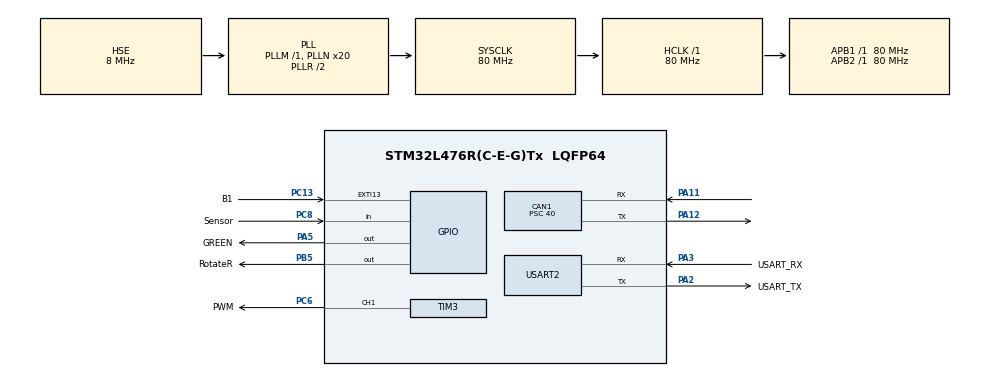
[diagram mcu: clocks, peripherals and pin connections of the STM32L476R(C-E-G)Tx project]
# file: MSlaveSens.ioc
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CAN1.BS1=CAN_BS1_13TQ
CAN1.BS2=CAN_BS2_2TQ
CAN1.CalculateBaudRate=125000
CAN1.CalculateTimeBit=8000
CAN1.CalculateTimeQuantum=500.0
CAN1.Prescaler=40
Mcu.Family=STM32L4
Mcu.Name=STM32L476R(C-E-G)Tx
Mcu.Package=LQFP64
NVIC.CAN1_RX0_IRQn=true\:0\:0\:false\:false\:true\:true\:true\:true
NVIC.CAN1_RX1_IRQn=true\:0\:0\:false\:false\:true\:true\:true\:true
NVIC.CAN1_SCE_IRQn=true\:0\:0\:false\:false\:true\:true\:true\:true
NVIC.CAN1_TX_IRQn=true\:0\:0\:false\:false\:true\:true\:true\:true
NVIC.EXTI15_10_IRQn=true\:0\:0\:false\:false\:true\:true\:true\:true
NVIC.PriorityGroup=NVIC_PRIORITYGROUP_4
PA11.Mode=CAN_Activate
PA11.Signal=CAN1_RX
PA12.Mode=CAN_Activate
PA12.Signal=CAN1_TX
PA13\ (JTMS-SWDIO).GPIO_Label=TMS
PA13\ (JTMS-SWDIO).Mode=Serial_Wire
PA13\ (JTMS-SWDIO).Signal=SYS_JTMS-SWDIO
PA14\ (JTCK-SWCLK).GPIO_Label=TCK
PA14\ (JTCK-SWCLK).Mode=Serial_Wire
PA14\ (JTCK-SWCLK).Signal=SYS_JTCK-SWCLK
PA2.GPIO_Label=USART_TX
PA2.GPIO_Mode=GPIO_MODE_AF_PP
PA2.GPIO_PuPd=GPIO_NOPULL
PA2.GPIO_Speed=GPIO_SPEED_FREQ_VERY_HIGH
PA2.Mode=Asynchronous
PA2.Signal=USART2_TX
PA3.GPIO_Label=USART_RX
PA3.GPIO_Mode=GPIO_MODE_AF_PP
PA3.GPIO_PuPd=GPIO_NOPULL
PA3.GPIO_Speed=GPIO_SPEED_FREQ_VERY_HIGH
PA3.Mode=Asynchronous
PA3.Signal=USART2_RX
PA5.GPIO_Label=GREEN
PA5.GPIO_ModeDefaultOutputPP=GPIO_MODE_OUTPUT_PP
PA5.GPIO_PuPd=GPIO_NOPULL
PA5.GPIO_Speed=GPIO_SPEED_FREQ_LOW
PA5.Signal=GPIO_Output
PB3\ (JTDO-TRACESWO).GPIO_Label=SWO
PB3\ (JTDO-TRACESWO).Signal=SYS_JTDO-SWO
PB5.GPIO_Label=RotateR
PB5.Signal=GPIO_Output
PC13.GPIO_Label=B1
PC13.GPIO_ModeDefaultEXTI=GPIO_MODE_IT_FALLING
PC13.GPIO_PuPd=GPIO_NOPULL
PC13.Signal=GPXTI13
PC14-OSC32_IN\ (PC14).Signal=RCC_OSC32_IN
PC15-OSC32_OUT\ (PC15).Signal=RCC_OSC32_OUT
PC6.GPIO_Label=PWM
PC6.Signal=S_TIM3_CH1
PC8.GPIO_Label=Sensor
PC8.Signal=GPIO_Input
PH0-OSC_IN\ (PH0).Mode=HSE-External-Clock-Source
PH0-OSC_IN\ (PH0).Signal=RCC_OSC_IN
PH1-OSC_OUT\ (PH1).Signal=RCC_OSC_OUT
ProjectManager.HeapSize=0x200
ProjectManager.StackSize=0x400
ProjectManager.TargetToolchain=STM32CubeIDE
RCC.ADCFreq_Value=32000000
RCC.AHBFreq_Value=80000000
RCC.APB1Freq_Value=80000000
RCC.APB1TimFreq_Value=80000000
RCC.APB2Freq_Value=80000000
RCC.APB2TimFreq_Value=80000000
RCC.CortexFreq_Value=80000000
RCC.HCLKFreq_Value=80000000
RCC.HSE_VALUE=8000000
RCC.HSI_VALUE=16000000
RCC.LSE_VALUE=32768
RCC.MSI_VALUE=4000000
RCC.PLLN=20
RCC.PLLSourceVirtual=RCC_PLLSOURCE_HSE
RCC.PREFETCH_ENABLE=1
RCC.SYSCLKFreq_VALUE=80000000
RCC.SYSCLKSource=RCC_SYSCLKSOURCE_PLLCLK
RCC.USBFreq_Value=32000000
RCC.VCOOutputFreq_Value=160000000
SH.S_TIM3_CH1.0=TIM3_CH1,PWM Generation1 CH1
TIM3.Channel-PWM\ Generation1\ CH1=TIM_CHANNEL_1
TIM3.Period=1000
TIM3.Prescaler=7
TIM3.Pulse-PWM\ Generation1\ CH1=0
USART2.VirtualMode-Asynchronous=VM_ASYNC
VP_TIM3_VS_ClockSourceINT.Mode=Internal
board=NUCLEO-L476RG

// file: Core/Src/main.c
/* USER CODE BEGIN Header */
/**
 ******************************************************************************
 * @file           : main.c
 * @brief          : Main program body
 ******************************************************************************
 * @attention
 *
 * Copyright (c) 2023 STMicroelectronics.
 * All rights reserved.
 *
 * This software is licensed under terms that can be found in the LICENSE file
 * in the root directory of this software component.
 * If no LICENSE file comes with this software, it is provided AS-IS.
 *
 ******************************************************************************
 */
/* USER CODE END Header */
#include "main.h"

/* USER CODE BEGIN Includes */

#include <stdbool.h>

/* USER CODE END Includes */

CAN_HandleTypeDef hcan1;

TIM_HandleTypeDef htim3;

UART_HandleTypeDef huart2;

void SystemClock_Config(void);
static void MX_GPIO_Init(void);
static void MX_USART2_UART_Init(void);
static void MX_CAN1_Init(void);
static void MX_TIM3_Init(void);

/* USER CODE BEGIN 0 */
uint32_t rollspeed = 750;
int errortoolong = 0;
CAN_TxHeaderTypeDef TxHeader;	//zmienna do konfiguracji nagłówka typu CAN_TxHeaderTypeDef
CAN_RxHeaderTypeDef RxHeader;	//zmienna do konfiguracji nagłówka typu CAN_TxHeaderTypeDef

uint8_t TxData[8];				// tablica danych wysyłanych
uint8_t RxData[8];				// tablica danych odbieranych

uint8_t previousTxData[8];		// tablica zapisująca poprzednie stany danych wysyłanych
uint8_t previousRxData[8];		// tablica zapisująca poprzednie stany danych odbieranych

uint32_t TxMailbox;				// monitorowanie statusu wysyłanych ramek

int datacheck = 0;
// Przerwanie - odbiór paczki danych z CAN
void HAL_CAN_RxFifo1MsgPendingCallback(CAN_HandleTypeDef *hcan) {
	HAL_CAN_GetRxMessage(hcan, CAN_RX_FIFO1, &RxHeader, RxData);
	if (RxHeader.DLC == 3) {
		datacheck = 1;
	}
}
//Obsluga czujnika
bool oneAction = 0;
bool oneActionMotor = 0;
bool isStarted0 = false;
bool isStarted1 = false;
uint8_t SensorState = 0;
uint8_t PrevSensorState = 0;
uint32_t FilterStartTime = 0;		 //start odliczania czasu                   -niwelowania zakłocenia
uint32_t FilterTriggerTime = 200; 	//czas zmiany stanu czujnika      		    - niwelowanie zakłóceń
uint32_t errorStartTime = 0;		 //start odliczania czasu błędu  	 	    - zator kartonów/uszkodzenie czujnika
uint32_t errorTriggerTime = 8000;	 //czas wystąpienia błędu          		    - zator kartonów/uszkodzenie czujnika
uint32_t StandbyStartTime = 0;		//start odliczania trybu standby
uint32_t StandbyTriggerTime = 4000; //czas po którym przenośnik wpada w stan Standby
uint32_t sequenceStartTime = 0; 	//start odliczania sekwencji kartonów        - zator kartonów pomiędzy czujnikami
uint32_t sequenceTriggerTime = 8000; //czas, po którym przenośnik sygnalizuje błąd
uint8_t sequencepack = 0;
void SendMessage(void) {
	for (int i = 0; i < 8; i++) {
		if (TxData[i] != previousTxData[i]) {
			HAL_CAN_AddTxMessage(&hcan1, &TxHeader, TxData, &TxMailbox); // Funkcja wysyłająca wiadomość
			previousTxData[i] = TxData[i];
		}
	}
}

void checkSensor(void) {
	if (HAL_GPIO_ReadPin(Sensor_GPIO_Port, Sensor_Pin) == GPIO_PIN_RESET) {
		SensorState = 1;
	} else {						// Odczyt stanu czujnika oraz ustawienie zmiennej
		SensorState = 0;
	}
	if (SensorState == 1 && PrevSensorState == 0 && isStarted1 == false) {
		FilterStartTime = HAL_GetTick();	// Pobranie aktualnego czasu zmiany stanu czujnika z 0 na 1 do zmiennej
		errorStartTime = HAL_GetTick();
		isStarted1 = true;
	} else {
		if (SensorState == 0) {
			isStarted1 = false;
		}
	}
	if (SensorState == 0 && PrevSensorState == 1 && isStarted0 == false) {
		FilterStartTime = HAL_GetTick();	// Pobranie aktualnego czasu zmiany stanu czujnika z 1 na 0 do zmiennej
		isStarted0 = true;
	} else {
		if (SensorState == 1) {
			isStarted0 = false;
		}
	}
}
void updateSensor() {
	if (HAL_GetTick() - FilterStartTime >= FilterTriggerTime) {	//sprawdzanie czy minął zadany czas filtracji
		if (SensorState == 1 && oneAction == 0) {
			TxData[2] = 1;										// zmiana danych do tablicy wysyłanej do magistrali
			StandbyStartTime = HAL_GetTick();					// rozpoczęcie odliczania funkcji Standby
			PrevSensorState = 1;								// ustawienie stanu poprzedniego
			oneAction = 1;										// flaga blokująca ponowne wywołanie
			oneActionMotor = 0;									// flaga blokująca ponowne wywołanie
		} else if (SensorState == 0 && oneAction == 1) {
			TxData[2] = 0;										// zmiana stanu sens do tablicy wysyłanej do magistrali
			PrevSensorState = 0;								// ustawienie stanu poprzedniego
			oneAction = 0;										// flaga blokująca ponowne wywołanie
			sequencepack++;										// dodanie kolejnej paczki do oczekiwania na kolejnej sekcji
			TxData[1] = sequencepack;							// zmiana danych do tablicy wysyłanej do magistrali
		}
	}
}
void Motorcontrol() {
	if (TxData[2] == 1) {
		if (errortoolong == 0) {
			__HAL_TIM_SET_COMPARE(&htim3, TIM_CHANNEL_1, rollspeed);//Funkcja włączająca napęd z prędkością "rollspeed"
			TxData[0] = 1;											//zmiana stanu silnika do tablicy wysyłanej do magistrali
		}
	}
	if (RxData[0] == 1) {											//Funkcja sprawdzająca czujnik na poprzenim module
		__HAL_TIM_SET_COMPARE(&htim3, TIM_CHANNEL_1, rollspeed);	//Funkcja włączająca napęd z prędkością "rollspeed"
			TxData[0] = 1;											//zmiana stanu silnika do tablicy wysyłanej do magistrali
			StandbyStartTime = HAL_GetTick();						//Odliczanie czasu Standby
		oneActionMotor = 0;											//flaga blokująca wykonanie jednej operacji
	}
	if ((HAL_GetTick() - StandbyStartTime >= StandbyTriggerTime)	//sprawdzanie czasu do zadziałania trybu bezczynności
			&& errortoolong == 0 && oneActionMotor == 0) {
		if (SensorState == 0) {
			__HAL_TIM_SET_COMPARE(&htim3, TIM_CHANNEL_1, 0);		// wyłączenie napędu
			TxData[0] = 0;
			oneActionMotor = 1;
		}
	}
	if (HAL_GetTick() - errorStartTime >= errorTriggerTime) {
		if (SensorState == 1) {
			__HAL_TIM_SET_COMPARE(&htim3, TIM_CHANNEL_1, 0);			//wyłaczenie napędu
			errortoolong = 1;											//flaga błędu przenośnika "zator"
			TxData[0] = 2;												//zmiana stanu silnika do tablicy wysyłanej do magistrali
			HAL_GPIO_WritePin(GREEN_GPIO_Port, GREEN_Pin, GPIO_PIN_SET);//włączenie diody podczas błędu
		}
	}
	if (HAL_GPIO_ReadPin(B1_GPIO_Port, B1_Pin) == GPIO_PIN_RESET) {		//reset błędu
		errortoolong = 0;
		__HAL_TIM_SET_COMPARE(&htim3, TIM_CHANNEL_1, rollspeed);		//włączenie modułu po potwierdzeniu usterki
		TxData[0] = 1;													//zmiana stanu silnika do tablicy wysyłanej do magistrali
		HAL_GPIO_WritePin(GREEN_GPIO_Port, GREEN_Pin, GPIO_PIN_RESET);	//wyłączenie diody podczas błędu
	}
}
/* USER CODE END 0 */

int main(void) {

	/* MCU Configuration--------------------------------------------------------*/

	/* Reset of all peripherals, Initializes the Flash interface and the Systick. */
	HAL_Init();

	/* Configure the system clock */
	SystemClock_Config();

	/* Initialize all configured peripherals */
	MX_GPIO_Init();
	MX_USART2_UART_Init();
	MX_CAN1_Init();
	MX_TIM3_Init();
	/* USER CODE BEGIN 2 */

	HAL_CAN_Start(&hcan1);

	HAL_CAN_ActivateNotification(&hcan1, CAN_IT_RX_FIFO1_MSG_PENDING);

	TxHeader.DLC = 3;  //data length
	TxHeader.IDE = CAN_ID_STD;
	TxHeader.RTR = CAN_RTR_DATA;
	TxHeader.StdId = 0x103; // ID

	TxData[0] = 0;
	TxData[1] = 0;

	//HAL_TIM_Base_Start_IT(&htim3);
	HAL_TIM_PWM_Start(&htim3, TIM_CHANNEL_1);
	HAL_GPIO_WritePin(RotateR_GPIO_Port, RotateR_Pin, GPIO_PIN_SET);
	/* USER CODE END 2 */

	/* Infinite loop */
	/* USER CODE BEGIN WHILE */
	while (1) {
		SendMessage();
		checkSensor();
		updateSensor();
		Motorcontrol();
		/* USER CODE END WHILE */

		/* USER CODE BEGIN 3 */

		if (datacheck) {
			for (int i = 0; i < RxData[1]; i++) {
				//HAL_GPIO_TogglePin(GREEN_GPIO_Port, GREEN_Pin);
				//HAL_Delay(RxData[0]);
			}
			datacheck = 0;
			//HAL_CAN_AddTxMessage(&hcan1, &TxHeader, TxData, &TxMailbox);
		}
	}

	/* USER CODE END 3 */
}

void SystemClock_Config(void) {
	RCC_OscInitTypeDef RCC_OscInitStruct = { 0 };
	RCC_ClkInitTypeDef RCC_ClkInitStruct = { 0 };

	/** Configure the main internal regulator output voltage
	 */
	if (HAL_PWREx_ControlVoltageScaling(PWR_REGULATOR_VOLTAGE_SCALE1)
			!= HAL_OK) {
		Error_Handler();
	}

	/** Initializes the RCC Oscillators according to the specified parameters
	 * in the RCC_OscInitTypeDef structure.
	 */
	RCC_OscInitStruct.OscillatorType = RCC_OSCILLATORTYPE_HSE;
	RCC_OscInitStruct.HSEState = RCC_HSE_BYPASS;
	RCC_OscInitStruct.PLL.PLLState = RCC_PLL_ON;
	RCC_OscInitStruct.PLL.PLLSource = RCC_PLLSOURCE_HSE;
	RCC_OscInitStruct.PLL.PLLM = 1;
	RCC_OscInitStruct.PLL.PLLN = 20;
	RCC_OscInitStruct.PLL.PLLP = RCC_PLLP_DIV7;
	RCC_OscInitStruct.PLL.PLLQ = RCC_PLLQ_DIV2;
	RCC_OscInitStruct.PLL.PLLR = RCC_PLLR_DIV2;
	if (HAL_RCC_OscConfig(&RCC_OscInitStruct) != HAL_OK) {
		Error_Handler();
	}

	/** Initializes the CPU, AHB and APB buses clocks
	 */
	RCC_ClkInitStruct.ClockType = RCC_CLOCKTYPE_HCLK | RCC_CLOCKTYPE_SYSCLK
			| RCC_CLOCKTYPE_PCLK1 | RCC_CLOCKTYPE_PCLK2;
	RCC_ClkInitStruct.SYSCLKSource = RCC_SYSCLKSOURCE_PLLCLK;
	RCC_ClkInitStruct.AHBCLKDivider = RCC_SYSCLK_DIV1;
	RCC_ClkInitStruct.APB1CLKDivider = RCC_HCLK_DIV1;
	RCC_ClkInitStruct.APB2CLKDivider = RCC_HCLK_DIV1;

	if (HAL_RCC_ClockConfig(&RCC_ClkInitStruct, FLASH_LATENCY_4) != HAL_OK) {
		Error_Handler();
	}
}

static void MX_CAN1_Init(void) {

	hcan1.Instance = CAN1;
	hcan1.Init.Prescaler = 40;
	hcan1.Init.Mode = CAN_MODE_NORMAL;
	hcan1.Init.SyncJumpWidth = CAN_SJW_1TQ;
	hcan1.Init.TimeSeg1 = CAN_BS1_13TQ;
	hcan1.Init.TimeSeg2 = CAN_BS2_2TQ;
	hcan1.Init.TimeTriggeredMode = DISABLE;
	hcan1.Init.AutoBusOff = DISABLE;
	hcan1.Init.AutoWakeUp = DISABLE;
	hcan1.Init.AutoRetransmission = DISABLE;
	hcan1.Init.ReceiveFifoLocked = DISABLE;
	hcan1.Init.TransmitFifoPriority = DISABLE;
	if (HAL_CAN_Init(&hcan1) != HAL_OK) {
		Error_Handler();
	}
	/* USER CODE BEGIN CAN1_Init 2 */

	CAN_FilterTypeDef canfilterconfig;

	canfilterconfig.FilterActivation = CAN_FILTER_ENABLE;
	canfilterconfig.FilterBank = 1;
	canfilterconfig.FilterFIFOAssignment = CAN_FILTER_FIFO1;
	canfilterconfig.FilterIdHigh = 0x0000;
	canfilterconfig.FilterIdLow = 0;
	canfilterconfig.FilterMaskIdHigh = 0x0000;
	canfilterconfig.FilterMaskIdLow = 0;
	canfilterconfig.FilterMode = CAN_FILTERMODE_IDMASK;
	canfilterconfig.FilterScale = CAN_FILTERSCALE_32BIT;
	canfilterconfig.SlaveStartFilterBank = 0;

	HAL_CAN_ConfigFilter(&hcan1, &canfilterconfig);

	/* USER CODE END CAN1_Init 2 */

}

static void MX_TIM3_Init(void) {

	TIM_ClockConfigTypeDef sClockSourceConfig = { 0 };
	TIM_MasterConfigTypeDef sMasterConfig = { 0 };
	TIM_OC_InitTypeDef sConfigOC = { 0 };

	htim3.Instance = TIM3;
	htim3.Init.Prescaler = 7;
	htim3.Init.CounterMode = TIM_COUNTERMODE_UP;
	htim3.Init.Period = 1000;
	htim3.Init.ClockDivision = TIM_CLOCKDIVISION_DIV1;
	htim3.Init.AutoReloadPreload = TIM_AUTORELOAD_PRELOAD_DISABLE;
	if (HAL_TIM_Base_Init(&htim3) != HAL_OK) {
		Error_Handler();
	}
	sClockSourceConfig.ClockSource = TIM_CLOCKSOURCE_INTERNAL;
	if (HAL_TIM_ConfigClockSource(&htim3, &sClockSourceConfig) != HAL_OK) {
		Error_Handler();
	}
	if (HAL_TIM_PWM_Init(&htim3) != HAL_OK) {
		Error_Handler();
	}
	sMasterConfig.MasterOutputTrigger = TIM_TRGO_RESET;
	sMasterConfig.MasterSlaveMode = TIM_MASTERSLAVEMODE_DISABLE;
	if (HAL_TIMEx_MasterConfigSynchronization(&htim3, &sMasterConfig)
			!= HAL_OK) {
		Error_Handler();
	}
	sConfigOC.OCMode = TIM_OCMODE_PWM1;
	sConfigOC.Pulse = 0;
	sConfigOC.OCPolarity = TIM_OCPOLARITY_HIGH;
	sConfigOC.OCFastMode = TIM_OCFAST_DISABLE;
	if (HAL_TIM_PWM_ConfigChannel(&htim3, &sConfigOC, TIM_CHANNEL_1)
			!= HAL_OK) {
		Error_Handler();
	}
	HAL_TIM_MspPostInit(&htim3);

}

static void MX_USART2_UART_Init(void) {

	huart2.Instance = USART2;
	huart2.Init.BaudRate = 115200;
	huart2.Init.WordLength = UART_WORDLENGTH_8B;
	huart2.Init.StopBits = UART_STOPBITS_1;
	huart2.Init.Parity = UART_PARITY_NONE;
	huart2.Init.Mode = UART_MODE_TX_RX;
	huart2.Init.HwFlowCtl = UART_HWCONTROL_NONE;
	huart2.Init.OverSampling = UART_OVERSAMPLING_16;
	huart2.Init.OneBitSampling = UART_ONE_BIT_SAMPLE_DISABLE;
	huart2.AdvancedInit.AdvFeatureInit = UART_ADVFEATURE_NO_INIT;
	if (HAL_UART_Init(&huart2) != HAL_OK) {
		Error_Handler();
	}

}

static void MX_GPIO_Init(void) {
	GPIO_InitTypeDef GPIO_InitStruct = { 0 };

	/* GPIO Ports Clock Enable */
	__HAL_RCC_GPIOC_CLK_ENABLE();
	__HAL_RCC_GPIOH_CLK_ENABLE();
	__HAL_RCC_GPIOA_CLK_ENABLE();
	__HAL_RCC_GPIOB_CLK_ENABLE();

	/*Configure GPIO pin Output Level */
	HAL_GPIO_WritePin(GREEN_GPIO_Port, GREEN_Pin, GPIO_PIN_RESET);

	/*Configure GPIO pin Output Level */
	HAL_GPIO_WritePin(RotateR_GPIO_Port, RotateR_Pin, GPIO_PIN_RESET);

	/*Configure GPIO pin : B1_Pin */
	GPIO_InitStruct.Pin = B1_Pin;
	GPIO_InitStruct.Mode = GPIO_MODE_IT_FALLING;
	GPIO_InitStruct.Pull = GPIO_NOPULL;
	HAL_GPIO_Init(B1_GPIO_Port, &GPIO_InitStruct);

	/*Configure GPIO pin : GREEN_Pin */
	GPIO_InitStruct.Pin = GREEN_Pin;
	GPIO_InitStruct.Mode = GPIO_MODE_OUTPUT_PP;
	GPIO_InitStruct.Pull = GPIO_NOPULL;
	GPIO_InitStruct.Speed = GPIO_SPEED_FREQ_LOW;
	HAL_GPIO_Init(GREEN_GPIO_Port, &GPIO_InitStruct);

	/*Configure GPIO pin : Sensor_Pin */
	GPIO_InitStruct.Pin = Sensor_Pin;
	GPIO_InitStruct.Mode = GPIO_MODE_INPUT;
	GPIO_InitStruct.Pull = GPIO_NOPULL;
	HAL_GPIO_Init(Sensor_GPIO_Port, &GPIO_InitStruct);

	/*Configure GPIO pin : RotateR_Pin */
	GPIO_InitStruct.Pin = RotateR_Pin;
	GPIO_InitStruct.Mode = GPIO_MODE_OUTPUT_PP;
	GPIO_InitStruct.Pull = GPIO_NOPULL;
	GPIO_InitStruct.Speed = GPIO_SPEED_FREQ_LOW;
	HAL_GPIO_Init(RotateR_GPIO_Port, &GPIO_InitStruct);

	/* EXTI interrupt init*/
	HAL_NVIC_SetPriority(EXTI15_10_IRQn, 0, 0);
	HAL_NVIC_EnableIRQ(EXTI15_10_IRQn);

}

void Error_Handler(void) {
	__disable_irq();
	while (1) {
	}
}
